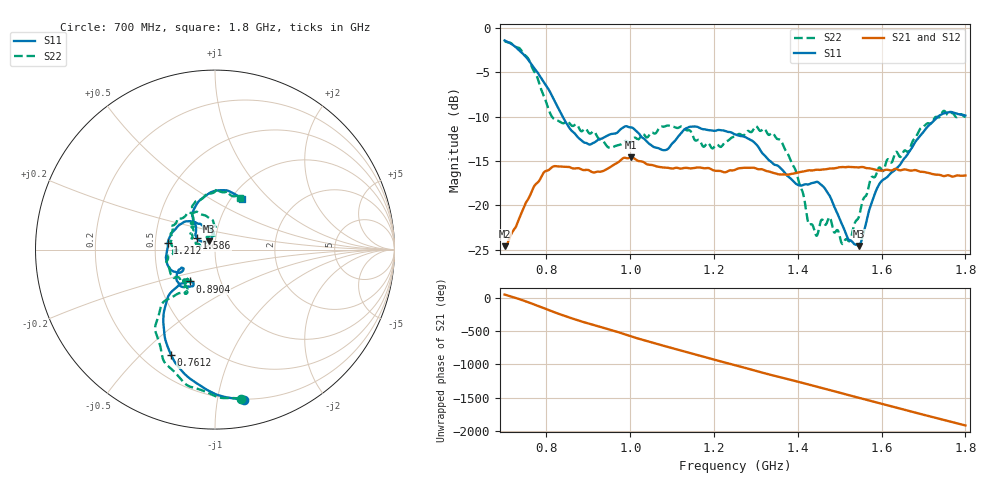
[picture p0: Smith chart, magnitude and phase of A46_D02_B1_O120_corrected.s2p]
! Created with skrf 1.9.0 (http://scikit-rf.org).
# Hz S RI R 50.0
!freq ReS11 ImS11 ReS21 ImS21 ReS12 ImS12 ReS22 ImS22
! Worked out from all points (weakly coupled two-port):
!   1601 points, 700 MHz to 1.8 GHz, reference 50 ohm
!   highest |S21| = -14.58 dB at 1.002 GHz (marker M1); lowest = -24.6 dB at 701.4 MHz (marker M2)
!   lowest |S11| = -24.6 dB at 1.545 GHz (marker M3), VSWR 1.13, Z = 46.4 + j4.39 ohm
!   |S11| at or under -10 dB: 838.7 MHz to 1.735 GHz (895.9 MHz wide, 69.6 % of centre)
!   |S22| runs from -24.4 to -1.5 dB; largest |S21 - S12| = 0.0035
!   S11 on the Smith chart (normalised r, x): 700 MHz: 0.20, -1.19; 761.2 MHz: 0.31, -0.62; 890.4 MHz: 0.71, -0.27; 1.212 GHz: 0.58, +0.05; 1.586 GHz: 0.81, +0.11; 1.8 GHz: 1.12, +0.71
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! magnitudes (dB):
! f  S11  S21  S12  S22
! 700 MHz  -1.4  -24.6  -24.4  -1.5
! 701.4 MHz  -1.4  -24.6  -24.2  -1.5
! 761.2 MHz  -3.9  -18.8  -18.7  -3.9
! 814.1 MHz  -7.7  -15.7  -15.7  -10.1
! 883.6 MHz  -12.7  -16.0  -15.8  -11.6
! 890.4 MHz  -12.9  -16.0  -16.0  -11.4
! 950.2 MHz  -12.0  -15.7  -15.7  -13.5
! 1.002 GHz  -11.2  -14.6  -14.7  -12.8
! 1.067 GHz  -13.6  -15.7  -15.6  -11.4
! 1.141 GHz  -11.2  -15.8  -15.8  -11.5
! 1.212 GHz  -11.5  -16.1  -16.1  -13.3
! 1.25 GHz  -12.0  -16.0  -15.9  -12.2
! 1.301 GHz  -13.1  -15.9  -15.8  -11.1
! 1.359 GHz  -15.8  -16.5  -16.5  -12.6
! 1.434 GHz  -17.5  -16.1  -16.0  -22.2
! 1.476 GHz  -18.9  -15.9  -15.9  -21.3
! 1.508 GHz  -22.5  -15.7  -15.7  -24.3
! 1.545 GHz  -24.6  -15.7  -15.7  -21.4
! 1.586 GHz  -18.4  -16.0  -16.0  -16.6
! 1.617 GHz  -16.6  -16.0  -16.0  -14.9
! 1.737 GHz  -9.9  -16.5  -16.6  -10.1
! 1.8 GHz  -9.9  -16.6  -16.6  -10.0
